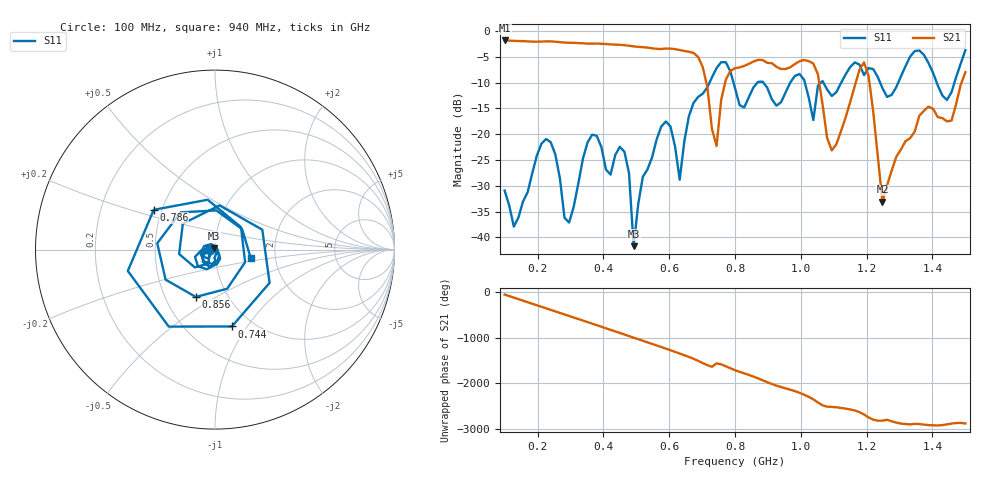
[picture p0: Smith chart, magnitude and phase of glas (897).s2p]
! NanoVNA-App
! Date: 2025-09-25 16:02:27
! Start: 100MHz Stop: 1,5GHz Points: 101
! S-Parameter data: F S11 S21 S12 S22
# Hz S RI R 50
!  Frequency  S11_Real  S11_Imag  S21_Real  S21_Imag  S12_Real  S12_Imag  S22_Real  S22_Imag
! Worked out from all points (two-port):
!   101 points, 100 MHz to 1.5 GHz, reference 50 ohm
!   highest |S21| = -1.80 dB at 100 MHz (marker M1); lowest = -33.1 dB at 1.248 GHz (marker M2)
!   |S21| within 3 dB of the highest: start of sweep to 684.4 MHz
!   lowest |S11| = -41.7 dB at 492 MHz (marker M3), VSWR 1.02, Z = 49.5 + j0.617 ohm
!   |S11| at or under -10 dB: start of sweep to 722.4 MHz; 795.5 MHz to 867.9 MHz (72.39 MHz wide, 8.7 % of centre); 886.4 MHz to 967.7 MHz (81.27 MHz wide, 8.77 % of centre) (the widest 3 of 7)
!   S12 and S22 are empty: the file has one direction only
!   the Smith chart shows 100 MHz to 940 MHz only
!   S11 on the Smith chart (normalised r, x): 100 MHz: 0.94, -0.01; 744 MHz: 0.80, -0.85; 786 MHz: 0.45, +0.24; 856 MHz: 0.71, -0.41; 940 MHz: 1.49, -0.15
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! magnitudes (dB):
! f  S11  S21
! 100 MHz  -30.9  -1.8
! 128 MHz  -37.9  -1.9
! 226 MHz  -20.9  -2.0
! 296 MHz  -37.1  -2.2
! 338 MHz  -24.7  -2.4
! 464 MHz  -23.4  -2.7
! 492 MHz  -41.7  -3.0
! 576 MHz  -18.5  -3.5
! 632 MHz  -28.8  -3.7
! 702 MHz  -12.1  -7.0
! 744 MHz  -7.2  -22.3
! 786 MHz  -7.8  -7.7
! 800 MHz  -11.0  -7.2
! 856 MHz  -10.9  -5.9
! 940 MHz  -13.8  -7.3
! 1.038 GHz  -17.2  -6.3
! 1.094 GHz  -12.6  -23.1
! 1.192 GHz  -8.5  -6.0
! 1.248 GHz  -11.1  -33.1
! 1.276 GHz  -12.4  -27.0
! 1.444 GHz  -13.3  -17.5
! 1.5 GHz  -3.7  -8.0
